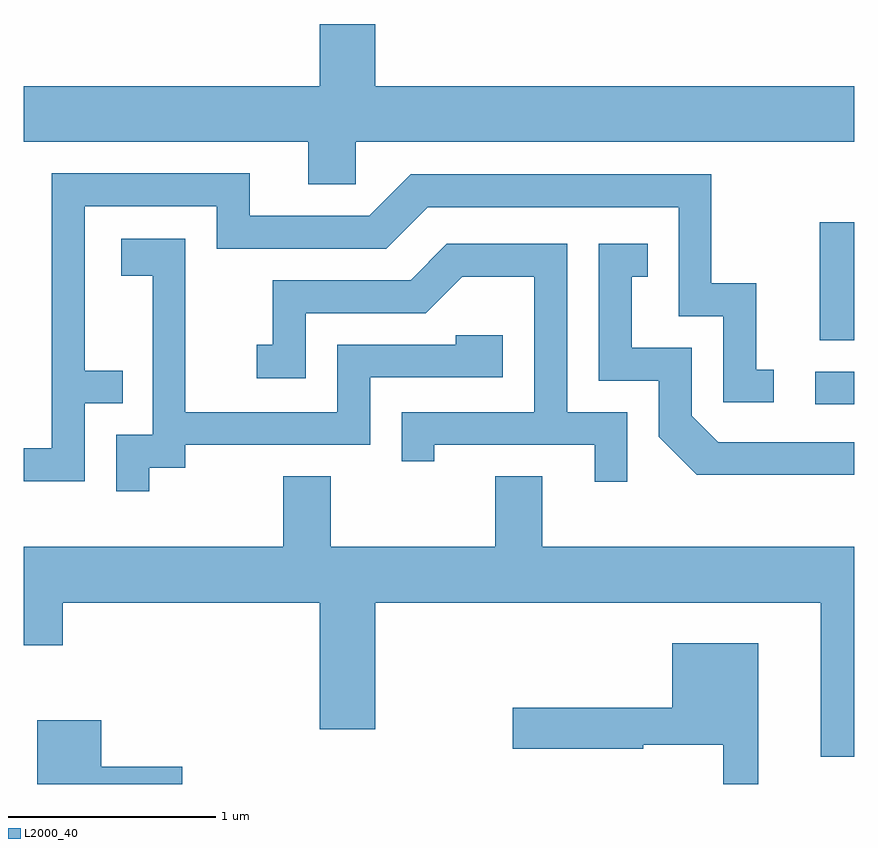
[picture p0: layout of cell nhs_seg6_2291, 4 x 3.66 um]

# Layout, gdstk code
import gdstk
lib = gdstk.Library(unit=1e-6, precision=1e-09)
def R(c, l, rs):  # rectangles x0, y0, x1, y1
    for r in rs: c.add(gdstk.rectangle(r[:2], r[2:], *l))
def P(c, l, *ps):  # polygons
    for p in ps: c.add(gdstk.Polygon(p, *l))
L2000_40 = (2000, 40)

nhs_seg6_2291 = lib.new_cell('nhs_seg6_2291')
R(nhs_seg6_2291, L2000_40, [(257.423,1661.991,257.611,1662.149), (257.446,1662.301,257.611,1662.869)])
P(nhs_seg6_2291, L2000_40, [(255.209,1663.256),(257.611,1663.256),(257.611,1663.524),(255.304,1663.524),(255.304,1663.824),(255.036,1663.824),(255.036,1663.524),(253.611,1663.524),(253.611,1663.256),(254.981,1663.256),(254.981,1663.051),(255.209,1663.051)],
  [(253.904,1661.996),(254.088,1661.996),(254.088,1662.154),(253.904,1662.154),(253.904,1662.946),(254.541,1662.946),(254.541,1662.741),(255.357,1662.741),(255.557,1662.941),(256.766,1662.941),(256.766,1662.416),(256.981,1662.416),(256.981,1662.001),(257.223,1662.001),(257.223,1662.159),(257.139,1662.159),(257.139,1662.574),(256.924,1662.574),(256.924,1663.099),(255.474,1663.099),(255.274,1662.899),(254.699,1662.899),(254.699,1663.104),(253.746,1663.104),(253.746,1661.779),(253.611,1661.779),(253.611,1661.621),(253.904,1661.621)],
  [(254.214,1661.686),(254.389,1661.686),(254.389,1661.796),(255.279,1661.796),(255.279,1662.121),(255.919,1662.121),(255.919,1662.324),(255.691,1662.324),(255.691,1662.279),(255.121,1662.279),(255.121,1661.954),(254.389,1661.954),(254.389,1662.789),(254.081,1662.789),(254.081,1662.611),(254.231,1662.611),(254.231,1661.844),(254.056,1661.844),(254.056,1661.573),(254.214,1661.573)],
  [(257.611,1661.809),(256.957,1661.809),(256.829,1661.937),(256.829,1662.264),(256.539,1662.264),(256.539,1662.606),(256.618,1662.606),(256.618,1662.764),(256.381,1662.764),(256.381,1662.106),(256.671,1662.106),(256.671,1661.834),(256.854,1661.651),(257.611,1661.651)],
  [(256.519,1661.954),(256.229,1661.954),(256.229,1662.764),(255.649,1662.764),(255.474,1662.589),(254.811,1662.589),(254.811,1662.279),(254.733,1662.279),(254.733,1662.116),(254.969,1662.116),(254.969,1662.431),(255.547,1662.431),(255.722,1662.606),(256.071,1662.606),(256.071,1661.954),(255.431,1661.954),(255.431,1661.718),(255.589,1661.718),(255.589,1661.796),(256.361,1661.796),(256.361,1661.618),(256.519,1661.618)],
  [(257.611,1661.304),(256.109,1661.304),(256.109,1661.644),(255.881,1661.644),(255.881,1661.304),(255.089,1661.304),(255.089,1661.644),(254.861,1661.644),(254.861,1661.304),(253.611,1661.304),(253.611,1660.831),(253.799,1660.831),(253.799,1661.036),(255.036,1661.036),(255.036,1660.426),(255.304,1660.426),(255.304,1661.036),(257.451,1661.036),(257.451,1660.293),(257.611,1660.293)],
  [(257.149,1660.839),(256.736,1660.839),(256.736,1660.529),(255.966,1660.529),(255.966,1660.331),(256.594,1660.331),(256.594,1660.351),(256.981,1660.351),(256.981,1660.162),(257.149,1660.162)],
  [(254.374,1660.244),(253.984,1660.244),(253.984,1660.469),(253.676,1660.469),(253.676,1660.162),(254.374,1660.162)])

lib.write_gds('nhs_seg6_2291.gds')
